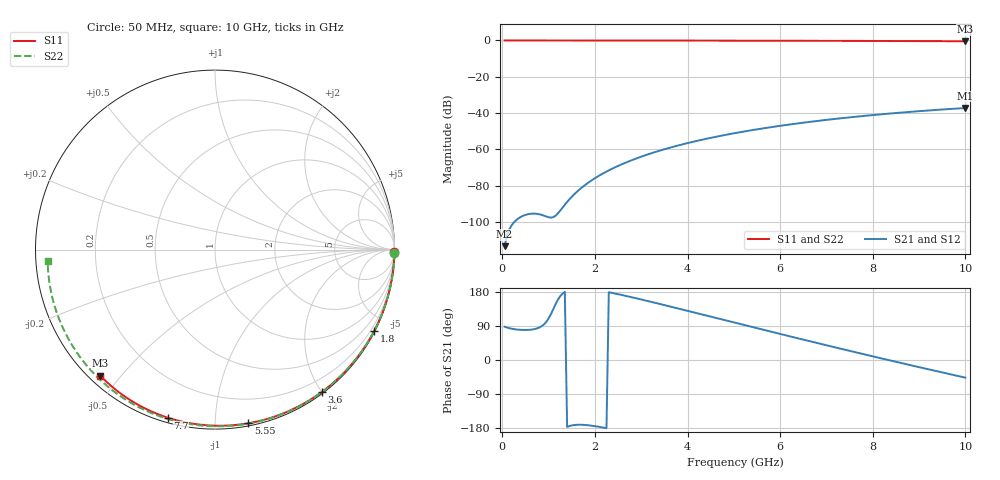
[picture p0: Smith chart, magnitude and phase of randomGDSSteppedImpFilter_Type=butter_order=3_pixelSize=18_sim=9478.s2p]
! freq	dB(S11)	phase(S11)	dB(S12)	phase(S12)
!  dB(S21)	phase(S21)	dB(S22)	phase(S22)
!S-par simulation data
#  GHz  S  DB  R 50
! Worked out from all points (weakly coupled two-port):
!   200 points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, 50 MHz to 10 GHz, reference 50 ohm
!   highest |S21| = -37.20 dB at 10 GHz (marker M1); lowest = -113.3 dB at 50 MHz (marker M2)
!   lowest |S11| = -0.4 dB at 10 GHz (marker M3), VSWR 38.78, Z = 1.54 - j22.1 ohm
!   |S11| at or under -10 dB: nowhere
!   |S22| runs from -0.6 to 0.0 dB; largest |S21 - S12| = 0
!   S11 on the Smith chart (normalised r, x): 50 MHz: open; 1.8 GHz: 0.04, -4.15; 3.6 GHz: 0.02, -2.00; 5.55 GHz: 0.02, -1.21; 7.7 GHz: 0.02, -0.76; 10 GHz: 0.03, -0.44
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0.05  -0.00 -0.8  -113.30 87.8  -113.30 87.8  -0.00 -1.0
0.45  -0.01 -6.9  -96.55 79.3  -96.55 79.3  -0.01 -8.9
0.85  -0.02 -12.9  -96.07 89.2  -96.07 89.2  -0.02 -16.7
1.3  -0.02 -19.7  -92.08 175.0  -92.08 175.0  -0.03 -25.3
1.75  -0.03 -26.4  -80.33 -171.1  -80.33 -171.1  -0.04 -33.9
1.8  -0.03 -27.1  -79.36 -171.6  -79.36 -171.6  -0.04 -34.9
1.95  -0.04 -29.3  -76.68 -173.7  -76.68 -173.7  -0.05 -37.7
2.1  -0.04 -31.5  -74.32 -176.6  -74.32 -176.6  -0.05 -40.5
2.3  -0.04 -34.5  -71.55 178.9  -71.55 178.9  -0.06 -44.3
2.5  -0.05 -37.4  -69.10 173.8  -69.10 173.8  -0.06 -48.0
2.9  -0.06 -43.1  -64.93 162.7  -64.93 162.7  -0.07 -55.3
3.4  -0.07 -50.2  -60.67 147.9  -60.67 147.9  -0.08 -64.4
3.6  -0.07 -53.0  -59.19 141.9  -59.19 141.9  -0.09 -67.9
4.3  -0.09 -62.7  -54.74 120.6  -54.74 120.6  -0.11 -80.2
5.05  -0.11 -72.7  -50.91 97.6  -50.91 97.6  -0.14 -93.0
5.55  -0.13 -79.2  -48.74 82.4  -48.74 82.4  -0.17 -101.3
6.1  -0.15 -86.2  -46.65 65.7  -46.65 65.7  -0.20 -110.4
6.7  -0.18 -93.7  -44.65 47.7  -44.65 47.7  -0.24 -120.1
7.7  -0.24 -105.7  -41.83 18.3  -41.83 18.3  -0.32 -136.4
8.35  -0.29 -113.4  -40.29 -0.5  -40.29 -0.5  -0.38 -147.1
9.2  -0.36 -123.2  -38.56 -24.5  -38.56 -24.5  -0.48 -161.6
10  -0.45 -132.4  -37.20 -46.5  -37.20 -46.5  -0.59 -175.9
